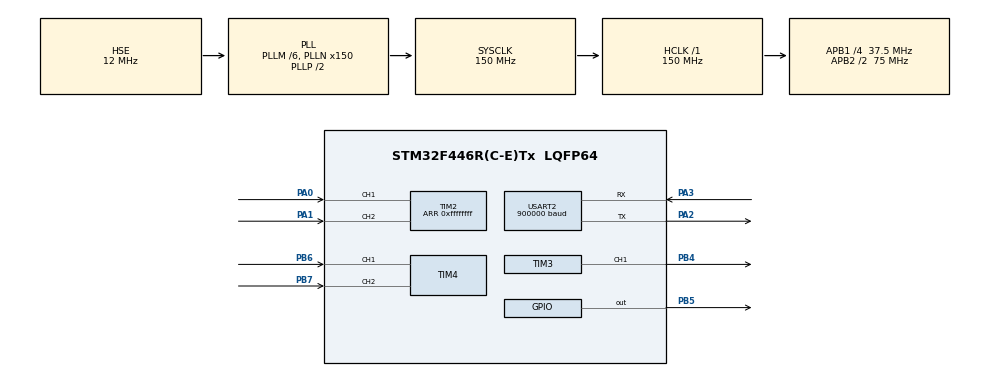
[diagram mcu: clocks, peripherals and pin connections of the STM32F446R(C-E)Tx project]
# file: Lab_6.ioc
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Mcu.Family=STM32F4
Mcu.Name=STM32F446R(C-E)Tx
Mcu.Package=LQFP64
NVIC.PriorityGroup=NVIC_PRIORITYGROUP_4
NVIC.TIM2_IRQn=true\:0\:0\:false\:false\:true\:true\:true\:true
NVIC.TIM3_IRQn=true\:0\:0\:false\:false\:true\:true\:true\:true
NVIC.TIM6_DAC_IRQn=true\:0\:0\:false\:false\:true\:true\:true\:true
NVIC.USART2_IRQn=true\:0\:0\:false\:false\:true\:true\:true\:true
PA0-WKUP.Signal=S_TIM2_CH1_ETR
PA1.Signal=S_TIM2_CH2
PA2.Mode=Asynchronous
PA2.Signal=USART2_TX
PA3.Mode=Asynchronous
PA3.Signal=USART2_RX
PB4.Signal=S_TIM3_CH1
PB5.Signal=GPIO_Output
PB6.Signal=S_TIM4_CH1
PB7.Signal=S_TIM4_CH2
PH0-OSC_IN.Mode=HSE-External-Oscillator
PH0-OSC_IN.Signal=RCC_OSC_IN
PH1-OSC_OUT.Mode=HSE-External-Oscillator
PH1-OSC_OUT.Signal=RCC_OSC_OUT
ProjectManager.HeapSize=0x200
ProjectManager.StackSize=0x400
ProjectManager.TargetToolchain=STM32CubeIDE
RCC.AHBFreq_Value=150000000
RCC.APB1CLKDivider=RCC_HCLK_DIV4
RCC.APB1Freq_Value=37500000
RCC.APB1TimFreq_Value=75000000
RCC.APB2CLKDivider=RCC_HCLK_DIV2
RCC.APB2Freq_Value=75000000
RCC.APB2TimFreq_Value=150000000
RCC.CortexFreq_Value=150000000
RCC.HCLKFreq_Value=150000000
RCC.HSE_VALUE=12000000
RCC.PLLM=6
RCC.PLLN=150
RCC.PLLSourceVirtual=RCC_PLLSOURCE_HSE
RCC.SYSCLKFreq_VALUE=150000000
RCC.SYSCLKSource=RCC_SYSCLKSOURCE_PLLCLK
RCC.USBFreq_Value=150000000
RCC.VCOOutputFreq_Value=300000000
SH.S_TIM2_CH1_ETR.0=TIM2_CH1,Encoder_Interface
SH.S_TIM2_CH2.0=TIM2_CH2,Encoder_Interface
SH.S_TIM3_CH1.0=TIM3_CH1,PWM Generation1 CH1
SH.S_TIM4_CH1.0=TIM4_CH1,Encoder_Interface
SH.S_TIM4_CH2.0=TIM4_CH2,Encoder_Interface
TIM2.Period=0xffffffff
TIM3.Channel-PWM\ Generation1\ CH1=TIM_CHANNEL_1
TIM3.Period=99
TIM3.Prescaler=749
TIM4.EncoderMode=TIM_ENCODERMODE_TI12
TIM4.IC1Filter=5
TIM4.IC2Filter=5
TIM6.Period=999
TIM6.Prescaler=74
USART2.BaudRate=900000
USART2.VirtualMode=VM_ASYNC
VP_TIM3_VS_ClockSourceINT.Mode=Internal
VP_TIM6_VS_ClockSourceINT.Mode=Enable_Timer
board=custom

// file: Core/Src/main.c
/* USER CODE BEGIN Header */
/**
  ******************************************************************************
  * @file           : main.c
  * @brief          : Main program body
  ******************************************************************************
  * @attention
  *
  * Copyright (c) 2024 STMicroelectronics.
  * All rights reserved.
  *
  * This software is licensed under terms that can be found in the LICENSE file
  * in the root directory of this software component.
  * If no LICENSE file comes with this software, it is provided AS-IS.
  *
  ******************************************************************************
  */
/* USER CODE END Header */
#include "main.h"

/* USER CODE BEGIN Includes */
#include <stdlib.h>
/* USER CODE END Includes */

/* USER CODE BEGIN PD */
#define OUT_MIN 0
#define OUT_MAX 99

#define MSG_HEADER 0xAAAA
#define MSG_TERMINATOR 0xBBBB
/* USER CODE END PD */

 TIM_HandleTypeDef htim2;
TIM_HandleTypeDef htim3;
TIM_HandleTypeDef htim4;
TIM_HandleTypeDef htim6;

UART_HandleTypeDef huart2;

/* USER CODE BEGIN PV */
float Kp = 0.5;
float Ki = 0.01;
float Kd = 0.1;
float delta_t = 0.1;

int32_t error = 0;
int32_t prev_error = 0;
int32_t integral = 0;
int32_t derivative = 0;
int32_t pid_output = 0;

int16_t target_speed = 0;
int32_t current_speed = 0;

struct msg {
	int16_t header;
	int16_t curr_v;
	int16_t tgt_v;
	int16_t err_val;
	int16_t out_val;
	int16_t terminator;
};
/* USER CODE END PV */

void SystemClock_Config(void);
static void MX_GPIO_Init(void);
static void MX_TIM3_Init(void);
static void MX_USART2_UART_Init(void);
static void MX_TIM2_Init(void);
static void MX_TIM4_Init(void);
static void MX_TIM6_Init(void);

int main(void)
{

  /* MCU Configuration--------------------------------------------------------*/

  /* Reset of all peripherals, Initializes the Flash interface and the Systick. */
  HAL_Init();

  /* Configure the system clock */
  SystemClock_Config();

  /* Initialize all configured peripherals */
  MX_GPIO_Init();
  MX_TIM3_Init();
  MX_USART2_UART_Init();
  MX_TIM2_Init();
  MX_TIM4_Init();
  MX_TIM6_Init();
  /* USER CODE BEGIN 2 */
  HAL_TIM_PWM_Start(&htim3, TIM_CHANNEL_1);
  HAL_TIM_Encoder_Start(&htim4, TIM_CHANNEL_ALL);
  HAL_TIM_Encoder_Start(&htim2, TIM_CHANNEL_ALL);
  HAL_TIM_Base_Start_IT(&htim6);
  /* USER CODE END 2 */

  /* Infinite loop */
  while (1)
  {

  }
}

void SystemClock_Config(void)
{
  RCC_OscInitTypeDef RCC_OscInitStruct = {0};
  RCC_ClkInitTypeDef RCC_ClkInitStruct = {0};

  /** Configure the main internal regulator output voltage
  */
  __HAL_RCC_PWR_CLK_ENABLE();
  __HAL_PWR_VOLTAGESCALING_CONFIG(PWR_REGULATOR_VOLTAGE_SCALE1);

  /** Initializes the RCC Oscillators according to the specified parameters
  * in the RCC_OscInitTypeDef structure.
  */
  RCC_OscInitStruct.OscillatorType = RCC_OSCILLATORTYPE_HSE;
  RCC_OscInitStruct.HSEState = RCC_HSE_ON;
  RCC_OscInitStruct.PLL.PLLState = RCC_PLL_ON;
  RCC_OscInitStruct.PLL.PLLSource = RCC_PLLSOURCE_HSE;
  RCC_OscInitStruct.PLL.PLLM = 6;
  RCC_OscInitStruct.PLL.PLLN = 150;
  RCC_OscInitStruct.PLL.PLLP = RCC_PLLP_DIV2;
  RCC_OscInitStruct.PLL.PLLQ = 2;
  RCC_OscInitStruct.PLL.PLLR = 2;
  if (HAL_RCC_OscConfig(&RCC_OscInitStruct) != HAL_OK)
  {
    Error_Handler();
  }

  /** Initializes the CPU, AHB and APB buses clocks
  */
  RCC_ClkInitStruct.ClockType = RCC_CLOCKTYPE_HCLK|RCC_CLOCKTYPE_SYSCLK
                              |RCC_CLOCKTYPE_PCLK1|RCC_CLOCKTYPE_PCLK2;
  RCC_ClkInitStruct.SYSCLKSource = RCC_SYSCLKSOURCE_PLLCLK;
  RCC_ClkInitStruct.AHBCLKDivider = RCC_SYSCLK_DIV1;
  RCC_ClkInitStruct.APB1CLKDivider = RCC_HCLK_DIV4;
  RCC_ClkInitStruct.APB2CLKDivider = RCC_HCLK_DIV2;

  if (HAL_RCC_ClockConfig(&RCC_ClkInitStruct, FLASH_LATENCY_4) != HAL_OK)
  {
    Error_Handler();
  }
}

static void MX_TIM2_Init(void)
{

  TIM_Encoder_InitTypeDef sConfig = {0};
  TIM_MasterConfigTypeDef sMasterConfig = {0};

  htim2.Instance = TIM2;
  htim2.Init.Prescaler = 0;
  htim2.Init.CounterMode = TIM_COUNTERMODE_UP;
  htim2.Init.Period = 0xffffffff;
  htim2.Init.ClockDivision = TIM_CLOCKDIVISION_DIV1;
  htim2.Init.AutoReloadPreload = TIM_AUTORELOAD_PRELOAD_DISABLE;
  sConfig.EncoderMode = TIM_ENCODERMODE_TI1;
  sConfig.IC1Polarity = TIM_ICPOLARITY_RISING;
  sConfig.IC1Selection = TIM_ICSELECTION_DIRECTTI;
  sConfig.IC1Prescaler = TIM_ICPSC_DIV1;
  sConfig.IC1Filter = 0;
  sConfig.IC2Polarity = TIM_ICPOLARITY_RISING;
  sConfig.IC2Selection = TIM_ICSELECTION_DIRECTTI;
  sConfig.IC2Prescaler = TIM_ICPSC_DIV1;
  sConfig.IC2Filter = 0;
  if (HAL_TIM_Encoder_Init(&htim2, &sConfig) != HAL_OK)
  {
    Error_Handler();
  }
  sMasterConfig.MasterOutputTrigger = TIM_TRGO_RESET;
  sMasterConfig.MasterSlaveMode = TIM_MASTERSLAVEMODE_DISABLE;
  if (HAL_TIMEx_MasterConfigSynchronization(&htim2, &sMasterConfig) != HAL_OK)
  {
    Error_Handler();
  }

}

static void MX_TIM3_Init(void)
{

  TIM_ClockConfigTypeDef sClockSourceConfig = {0};
  TIM_MasterConfigTypeDef sMasterConfig = {0};
  TIM_OC_InitTypeDef sConfigOC = {0};

  htim3.Instance = TIM3;
  htim3.Init.Prescaler = 749;
  htim3.Init.CounterMode = TIM_COUNTERMODE_UP;
  htim3.Init.Period = 99;
  htim3.Init.ClockDivision = TIM_CLOCKDIVISION_DIV1;
  htim3.Init.AutoReloadPreload = TIM_AUTORELOAD_PRELOAD_DISABLE;
  if (HAL_TIM_Base_Init(&htim3) != HAL_OK)
  {
    Error_Handler();
  }
  sClockSourceConfig.ClockSource = TIM_CLOCKSOURCE_INTERNAL;
  if (HAL_TIM_ConfigClockSource(&htim3, &sClockSourceConfig) != HAL_OK)
  {
    Error_Handler();
  }
  if (HAL_TIM_PWM_Init(&htim3) != HAL_OK)
  {
    Error_Handler();
  }
  sMasterConfig.MasterOutputTrigger = TIM_TRGO_RESET;
  sMasterConfig.MasterSlaveMode = TIM_MASTERSLAVEMODE_DISABLE;
  if (HAL_TIMEx_MasterConfigSynchronization(&htim3, &sMasterConfig) != HAL_OK)
  {
    Error_Handler();
  }
  sConfigOC.OCMode = TIM_OCMODE_PWM1;
  sConfigOC.Pulse = 0;
  sConfigOC.OCPolarity = TIM_OCPOLARITY_HIGH;
  sConfigOC.OCFastMode = TIM_OCFAST_DISABLE;
  if (HAL_TIM_PWM_ConfigChannel(&htim3, &sConfigOC, TIM_CHANNEL_1) != HAL_OK)
  {
    Error_Handler();
  }
  HAL_TIM_MspPostInit(&htim3);

}

static void MX_TIM4_Init(void)
{

  TIM_Encoder_InitTypeDef sConfig = {0};
  TIM_MasterConfigTypeDef sMasterConfig = {0};

  htim4.Instance = TIM4;
  htim4.Init.Prescaler = 0;
  htim4.Init.CounterMode = TIM_COUNTERMODE_UP;
  htim4.Init.Period = 65535;
  htim4.Init.ClockDivision = TIM_CLOCKDIVISION_DIV1;
  htim4.Init.AutoReloadPreload = TIM_AUTORELOAD_PRELOAD_DISABLE;
  sConfig.EncoderMode = TIM_ENCODERMODE_TI12;
  sConfig.IC1Polarity = TIM_ICPOLARITY_RISING;
  sConfig.IC1Selection = TIM_ICSELECTION_DIRECTTI;
  sConfig.IC1Prescaler = TIM_ICPSC_DIV1;
  sConfig.IC1Filter = 5;
  sConfig.IC2Polarity = TIM_ICPOLARITY_RISING;
  sConfig.IC2Selection = TIM_ICSELECTION_DIRECTTI;
  sConfig.IC2Prescaler = TIM_ICPSC_DIV1;
  sConfig.IC2Filter = 5;
  if (HAL_TIM_Encoder_Init(&htim4, &sConfig) != HAL_OK)
  {
    Error_Handler();
  }
  sMasterConfig.MasterOutputTrigger = TIM_TRGO_RESET;
  sMasterConfig.MasterSlaveMode = TIM_MASTERSLAVEMODE_DISABLE;
  if (HAL_TIMEx_MasterConfigSynchronization(&htim4, &sMasterConfig) != HAL_OK)
  {
    Error_Handler();
  }

}

static void MX_TIM6_Init(void)
{

  TIM_MasterConfigTypeDef sMasterConfig = {0};

  htim6.Instance = TIM6;
  htim6.Init.Prescaler = 74;
  htim6.Init.CounterMode = TIM_COUNTERMODE_UP;
  htim6.Init.Period = 999;
  htim6.Init.AutoReloadPreload = TIM_AUTORELOAD_PRELOAD_DISABLE;
  if (HAL_TIM_Base_Init(&htim6) != HAL_OK)
  {
    Error_Handler();
  }
  sMasterConfig.MasterOutputTrigger = TIM_TRGO_RESET;
  sMasterConfig.MasterSlaveMode = TIM_MASTERSLAVEMODE_DISABLE;
  if (HAL_TIMEx_MasterConfigSynchronization(&htim6, &sMasterConfig) != HAL_OK)
  {
    Error_Handler();
  }

}

static void MX_USART2_UART_Init(void)
{

  huart2.Instance = USART2;
  huart2.Init.BaudRate = 900000;
  huart2.Init.WordLength = UART_WORDLENGTH_8B;
  huart2.Init.StopBits = UART_STOPBITS_1;
  huart2.Init.Parity = UART_PARITY_NONE;
  huart2.Init.Mode = UART_MODE_TX_RX;
  huart2.Init.HwFlowCtl = UART_HWCONTROL_NONE;
  huart2.Init.OverSampling = UART_OVERSAMPLING_16;
  if (HAL_UART_Init(&huart2) != HAL_OK)
  {
    Error_Handler();
  }

}

static void MX_GPIO_Init(void)
{
  GPIO_InitTypeDef GPIO_InitStruct = {0};

  /* GPIO Ports Clock Enable */
  __HAL_RCC_GPIOH_CLK_ENABLE();
  __HAL_RCC_GPIOA_CLK_ENABLE();
  __HAL_RCC_GPIOB_CLK_ENABLE();

  /*Configure GPIO pin Output Level */
  HAL_GPIO_WritePin(GPIOB, GPIO_PIN_5, GPIO_PIN_RESET);

  /*Configure GPIO pin : PB5 */
  GPIO_InitStruct.Pin = GPIO_PIN_5;
  GPIO_InitStruct.Mode = GPIO_MODE_OUTPUT_PP;
  GPIO_InitStruct.Pull = GPIO_NOPULL;
  GPIO_InitStruct.Speed = GPIO_SPEED_FREQ_LOW;
  HAL_GPIO_Init(GPIOB, &GPIO_InitStruct);

}

/* USER CODE BEGIN 4 */
void send_telemetry() {
	struct msg new_msg;

	new_msg.header = MSG_HEADER;
	new_msg.curr_v = current_speed;
	new_msg.tgt_v = target_speed;
	new_msg.out_val = pid_output;
	new_msg.err_val = error;
	new_msg.terminator = MSG_TERMINATOR;

	HAL_UART_Transmit_IT(&huart2, (uint8_t*)&new_msg, sizeof(struct msg));
}

int constrain(int value, int min, int max) {
    if (value < min) return min;
    if (value > max) return max;
    return value;
}

void HAL_TIM_PeriodElapsedCallback(TIM_HandleTypeDef *htim) {
	if (htim->Instance == TIM6) {
		current_speed = TIM2->CNT;
		target_speed = TIM4->CNT;
		TIM2->CNT = 0;

		error = target_speed - current_speed;

		integral += abs(error) * delta_t;
		integral = constrain(integral, OUT_MIN, OUT_MAX);
		derivative = (error - prev_error) / delta_t;
		pid_output = Kp * abs(error) + Ki * integral + Kd * derivative;

		pid_output = constrain(pid_output, OUT_MIN, OUT_MAX);

		if (target_speed > 0) {
			HAL_GPIO_WritePin(GPIOB, GPIO_PIN_5, 0);
		} else {
			HAL_GPIO_WritePin(GPIOB, GPIO_PIN_5, 1);
		}
		__HAL_TIM_SET_COMPARE(&htim3, TIM_CHANNEL_1, pid_output);

		prev_error = error;

		send_telemetry();
	}
}
/* USER CODE END 4 */

void Error_Handler(void)
{
  __disable_irq();
  while (1)
  {
  }
}
